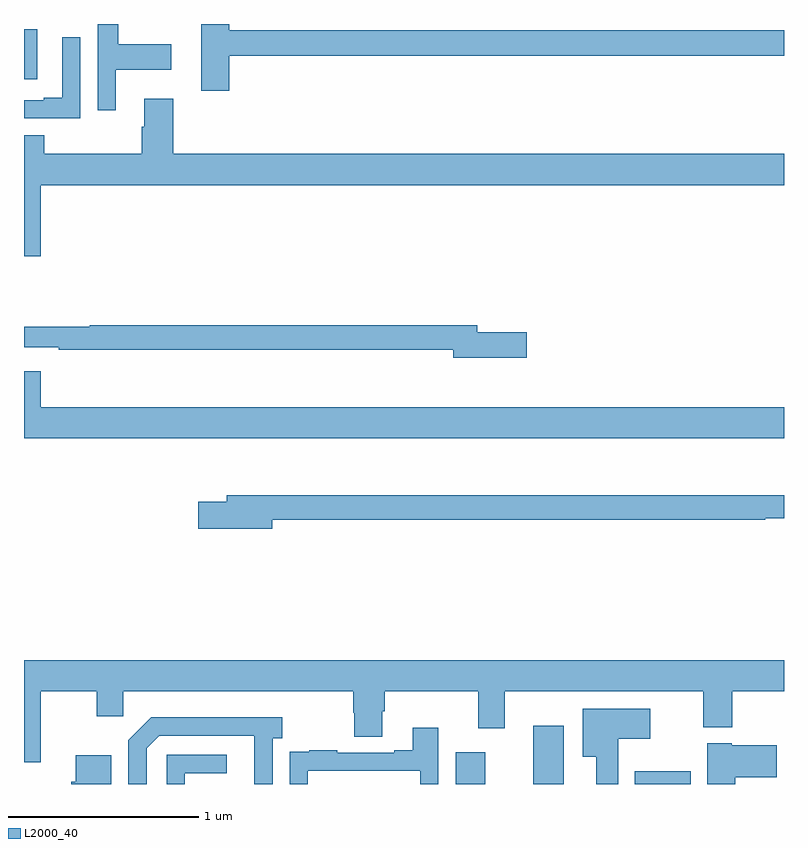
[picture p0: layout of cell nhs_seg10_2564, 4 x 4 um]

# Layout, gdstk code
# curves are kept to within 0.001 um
import gdstk
lib = gdstk.Library(unit=1e-6, precision=1e-09)
def R(c, l, rs):  # rectangles x0, y0, x1, y1
    for r in rs: c.add(gdstk.rectangle(r[:2], r[2:], *l))
def P(c, l, *ps):  # polygons
    for p in ps: c.add(gdstk.Polygon(p, *l))
L2000_40 = (2000, 40)

nhs_seg10_2564 = lib.new_cell('nhs_seg10_2564')
R(nhs_seg10_2564, L2000_40, [(251.273,1294.5,251.428,1294.666), (251.681,1294.5,251.842,1294.807), (252.215,1294.5,252.508,1294.567), (249,1298.21,249.07,1298.473)])
P(nhs_seg10_2564, L2000_40, [(250.079,1298.332),(253,1298.332),(253,1298.468),(250.079,1298.468),(250.079,1298.5),(249.932,1298.5),(249.932,1298.148),(250.079,1298.148)],
  [(249.484,1298.258),(249.775,1298.258),(249.775,1298.393),(249.496,1298.393),(249.496,1298.5),(249.387,1298.5),(249.387,1298.046),(249.484,1298.046)],
  [(249.297,1298.431),(249.2,1298.431),(249.2,1298.113),(249.104,1298.113),(249.104,1298.1),(249,1298.1),(249,1298.004),(249.297,1298.004)],
  [(249.088,1297.652),(253,1297.652),(253,1297.816),(249.785,1297.816),(249.785,1298.107),(249.632,1298.107),(249.632,1297.958),(249.62,1297.958),(249.62,1297.816),(249.107,1297.816),(249.107,1297.914),(249,1297.914),(249,1297.278),(249.088,1297.278)],
  [(251.647,1296.878),(251.386,1296.878),(251.386,1296.914),(249.345,1296.914),(249.345,1296.907),(249,1296.907),(249,1296.798),(249.184,1296.798),(249.184,1296.786),(251.258,1296.786),(251.258,1296.743),(251.647,1296.743)],
  [(253,1296.484),(249.088,1296.484),(249.088,1296.673),(249,1296.673),(249,1296.32),(253,1296.32)],
  [(250.306,1295.89),(252.902,1295.89),(252.902,1295.898),(253,1295.898),(253,1296.019),(250.067,1296.019),(250.067,1295.985),(249.918,1295.985),(249.918,1295.843),(250.306,1295.843)],
  [(249.088,1294.988),(249.383,1294.988),(249.383,1294.857),(249.522,1294.857),(249.522,1294.988),(250.733,1294.988),(250.733,1294.875),(250.738,1294.875),(250.738,1294.75),(250.885,1294.75),(250.885,1294.882),(250.898,1294.882),(250.898,1294.988),(251.39,1294.988),(251.39,1294.794),(251.53,1294.794),(251.53,1294.988),(252.575,1294.988),(252.575,1294.799),(252.728,1294.799),(252.728,1294.988),(253,1294.988),(253,1295.152),(249,1295.152),(249,1294.614),(249.088,1294.614)],
  [(252.127,1294.739),(252.295,1294.739),(252.295,1294.897),(251.942,1294.897),(251.942,1294.643),(252.011,1294.643),(252.011,1294.5),(252.127,1294.5)],
  [(249.645,1294.689),(249.711,1294.755),(250.211,1294.755),(250.212,1294.5),(250.308,1294.5),(250.308,1294.742),(250.36,1294.742),(250.36,1294.852),(249.67,1294.852),(249.549,1294.731),(249.549,1294.5),(249.645,1294.5)],
  [(250.494,1294.569),(251.085,1294.569),(251.085,1294.5),(251.181,1294.5),(251.181,1294.795),(251.045,1294.795),(251.045,1294.678),(250.949,1294.678),(250.949,1294.665),(250.649,1294.665),(250.649,1294.678),(250.501,1294.678),(250.501,1294.671),(250.399,1294.671),(250.399,1294.562),(250.398,1294.562),(250.398,1294.5),(250.494,1294.5)],
  [(252.743,1294.535),(252.961,1294.535),(252.961,1294.705),(252.726,1294.705),(252.726,1294.714),(252.596,1294.714),(252.596,1294.5),(252.743,1294.5)],
  [(249.846,1294.557),(250.066,1294.557),(250.066,1294.653),(249.75,1294.653),(249.75,1294.5),(249.846,1294.5)],
  [(249.46,1294.651),(249.272,1294.651),(249.272,1294.512),(249.248,1294.512),(249.248,1294.5),(249.46,1294.5)])

lib.write_gds('nhs_seg10_2564.gds')
